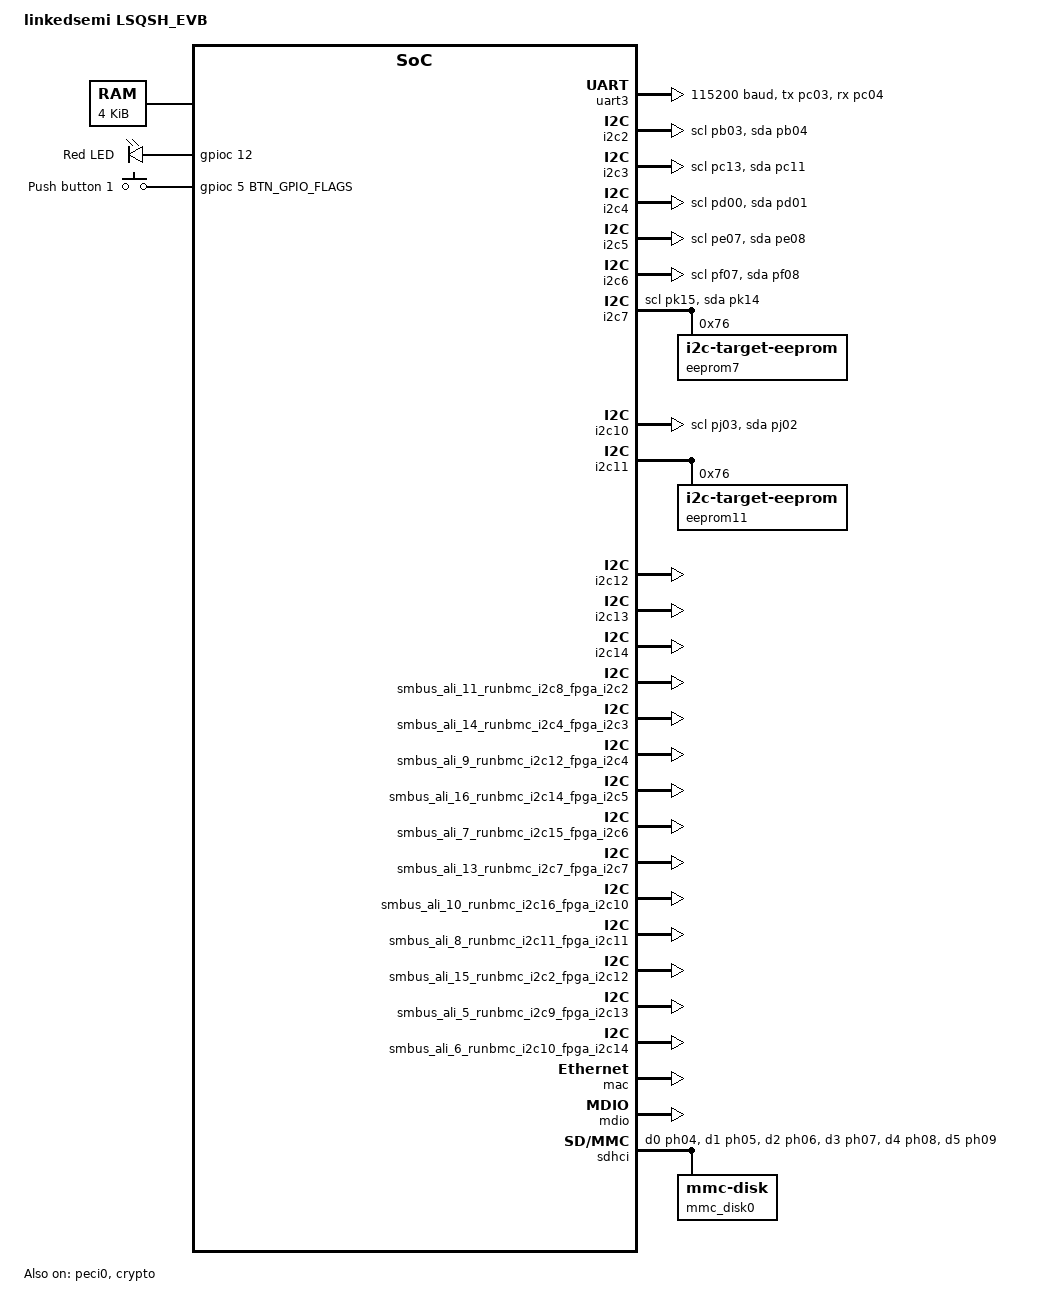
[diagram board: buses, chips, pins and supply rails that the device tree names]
/*
 * Copyright (c) 2021, Teslabs Engineering S.L.
 * SPDX-License-Identifier: Apache-2.0
 */

// #include <gigadevice/gd32vf103Xb.dtsi>
// #include "gd32vf103v_eval-pinctrl.dtsi"
/dts-v1/;
#include <riscv/linkedsemi/lsqsh.dtsi>
#include <zephyr/dt-bindings/pinctrl/lsqsh-pinctrl.h>
#include "lsqsh_evb-pinctrl.dtsi"

#define BTN_GPIO_FLAGS (GPIO_ACTIVE_HIGH | GPIO_PULL_UP)

/ {
    model = "linkedsemi LSQSH_EVB";
    compatible = "linkedsemi,lsqsh_evb";

    chosen {
        zephyr,sram = &sram0;
        zephyr,console = &uart3;
        zephyr,shell-uart = &uart3;
    };

    aliases {
        testi2c1 = &i2c11;
        testi2c2 = &i2c7;
        testeeprom1 = &eeprom11;
        testeeprom2 = &eeprom7;
        peci-0 = &peci0;
        sdhc0 = &sdhci;
        led0 = &led0;
        sw0 = &btn0;
    };

    sram0_nocache: memory@1007f000{
        compatible = "zephyr,memory-region", "mmio-sram";
        reg = <(0x1007f000) DT_SIZE_K(4)>;
        device_type = "memory";
        zephyr,memory-region = "nocache";
    };

    soc {
        compatible = "simpe-bus";
        #address-cells = <1>;
        #size-cells = <1>;
        interrupt-parent = <&intc>;

        mbox: mbox@1013f800 {
            compatible = "linkedsemi,mbox";
            reg = <0x1013f800 0x800>;
            interrupts = <27 3>;
            fifo-deepth = <2>;
            fifo-width = <256>;
            #mbox-cells = <1>;
        };
    };

    mbox-consumer {
        compatible = "vnd,mbox-consumer";
        mboxes = <&mbox 1>, <&mbox 0>;
        mbox-names = "tx", "rx";
    };

    leds {
        compatible = "gpio-leds";
        led0: led_0{
            gpios = <&gpioc 12 GPIO_ACTIVE_HIGH>;
            label = "Red LED";
        };
    };

    keys {
        compatible = "gpio-keys";
        btn0: btn_0{
            gpios = <&gpioc 5 BTN_GPIO_FLAGS>;
            label = "Push button 1";
        };
    };
};

&cpu0 {
    clock-frequency = <50000000>;
    cpu-power-states = <&idle &lp0>;
};

&sram0 {
    reg = <0x10000000 DT_SIZE_K(508)>;
    status = "disabled";
};

&sram1 {
    status = "disabled";
};

&gpioa {
    status = "okay";
};

&gpiob {
    status = "okay";
};

&gpioc {
    status = "okay";
};

&gpiod {
    status = "okay";
};

&gpioe {
    status = "okay";
};

&gpiof {
    status = "okay";
};

&gpiog {
    status = "okay";
};

&gpioh {
    status = "okay";
};

&gpioi {
    status = "okay";
};

&gpioj {
    status = "okay";
};

&gpiok {
    status = "okay";
};

&gpiom {
    status = "okay";
};

&gpion {
    status = "okay";
};

&gpioq {
    status = "okay";
};

&gpiot {
    status = "okay";
};

&uart1 {
    status = "disabled";
    current-speed = <115200>;
};

&uart2 {
    status = "disabled";
    current-speed = <115200>;
};

&uart3 {
    status = "okay";
    current-speed = <115200>;
    pinctrl-0 = <&uart3_tx_pc03 &uart3_rx_pc04>;
    pinctrl-names = "default";
};

&uart4 {
    status = "disabled";
    current-speed = <115200>;
    pinctrl-0 = <&uart4_tx_pd09 &uart4_rx_pd10>;
    pinctrl-names = "default";
};

&i2c2 {
    pinctrl-0 = <&i2c2_scl_pb03 &i2c2_sda_pb04>;
    pinctrl-names = "default";
    status = "okay";
};

&i2c3 {
    pinctrl-0 = <&i2c3_scl_pc13 &i2c3_sda_pc11>;
    pinctrl-names = "default";
    status = "okay";
};

&i2c4 {
    pinctrl-0 = <&i2c4_scl_pd00 &i2c4_sda_pd01>;
    pinctrl-names = "default";
    status = "okay";
};

&i2c5 {
    pinctrl-0 = <&i2c5_scl_pe07 &i2c5_sda_pe08>;
    pinctrl-names = "default";
    status = "okay";
};

&i2c6 {
    pinctrl-0 = <&i2c6_scl_pf07 &i2c6_sda_pf08>;
    pinctrl-names = "default";
    status = "okay";
};

&i2c7 {
    pinctrl-0 = <&i2c7_scl_pk15 &i2c7_sda_pk14>;
    pinctrl-names = "default";
    status = "okay";
    eeprom7: eeprom@76 {
        compatible = "zephyr,i2c-target-eeprom";
        reg = <0x76>;
        size = <256>;
        status = "okay";
    };
};

&i2c10 {
    pinctrl-0 = <&i2c10_scl_pj03 &i2c10_sda_pj02>;
    pinctrl-names = "default";
    status = "okay";
};

&i2c11 {
    pinctrl-0 = <&i2c11_scl_pn09 &i2c11_sda_pn08>;
    pinctrl-names = "default";
    status = "okay";
    eeprom11: eeprom@76 {
        compatible = "zephyr,i2c-target-eeprom";
        reg = <0x76>;
        size = <256>;
        status = "okay";
    };
};

&i2c12 {
    pinctrl-0 = <&i2c12_scl_pn13 &i2c12_sda_pn14>;
    pinctrl-names = "default";
    status = "okay";
};

&i2c13 {
    pinctrl-0 = <&i2c13_scl_pq00 &i2c13_sda_pq01>;
    pinctrl-names = "default";
    status = "okay";
};

&i2c14 {
    pinctrl-0 = <&i2c14_scl_pq03 &i2c14_sda_pq02>;
    pinctrl-names = "default";
    status = "okay";
};

/*
    smbus
*/

&smbus_ali_11_runbmc_i2c8_fpga_i2c2 {
    status = "okay";
};

&smbus_ali_14_runbmc_i2c4_fpga_i2c3 {
    status = "okay";
};

&smbus_ali_9_runbmc_i2c12_fpga_i2c4 {
    status = "okay";
};

&smbus_ali_16_runbmc_i2c14_fpga_i2c5 {
    status = "okay";
};

&smbus_ali_7_runbmc_i2c15_fpga_i2c6 {
    status = "okay";
};

&smbus_ali_13_runbmc_i2c7_fpga_i2c7 {
    status = "okay";
};

&smbus_ali_10_runbmc_i2c16_fpga_i2c10 {
    status = "okay";
};

&smbus_ali_8_runbmc_i2c11_fpga_i2c11 {
    status = "okay";
};

&smbus_ali_15_runbmc_i2c2_fpga_i2c12 {
    status = "okay";
};

&smbus_ali_5_runbmc_i2c9_fpga_i2c13 {
    status = "okay";
};

&smbus_ali_6_runbmc_i2c10_fpga_i2c14 {
    status = "okay";
};

&mac {
    pinctrl-0 = <&rmii_txen_pt03
                &rmii_txd0_pt04
                &rmii_txd1_pt05
                &rmii_rxc_pt08
                &rmii_crsdv_pt09
                &rmii_rxd0_pt10
                &rmii_rxd1_pt11>;
    pinctrl-names = "default";
    status = "okay";
};

&mdio {
    pinctrl-0 = <&rmii_mdc_pt00
                &rmii_mdio_pt01>;
    pinctrl-names = "default";
    status = "okay";
};

&peci0 {
    pinctrl-0 = <&peci_pk00>;
    pinctrl-names = "default";
    status = "okay";
};

&sdhci {
    pinctrl-0 = <&sdhc_d0_ph04
                &sdhc_d1_ph05
                &sdhc_d2_ph06
                &sdhc_d3_ph07
                &sdhc_d4_ph08
                &sdhc_d5_ph09
                &sdhc_d6_ph010
                &sdhc_d7_ph011
                &sdhc_clk_ph012
                &sdhc_cmd_ph013>;
    pinctrl-names = "default";
    status = "okay";

    mmc_disk0: disk {
        compatible = "zephyr,mmc-disk";
        bus-width = <1>;
        status = "okay";
    };
};

&crypto {
    status = "okay";
};
